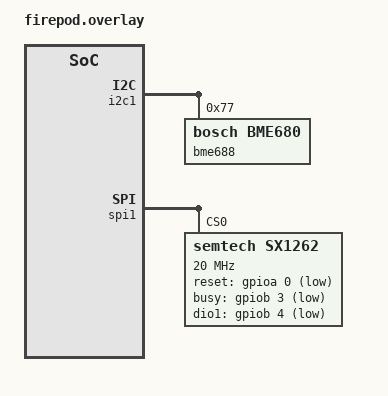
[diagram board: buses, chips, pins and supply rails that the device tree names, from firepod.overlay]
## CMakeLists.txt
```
cmake_minimum_required(VERSION 3.22)

find_package(Zephyr REQUIRED HINTS $ENV{ZEPHYR_BASE})
project(firepod)

# Include dirs so the Bosch API header is visible
target_include_directories(app PRIVATE
    ${CMAKE_CURRENT_SOURCE_DIR}/src
    ${CMAKE_CURRENT_SOURCE_DIR}/src/bosch/BME68x_SensorAPI
)

# All source files, including the Bosch driver and your stubs
target_sources(app PRIVATE
    src/main.c
    src/sensor_thread.c
    src/lora_thread.c
    src/base_station_thread.c
    src/bme688_stubs.c
    src/bosch/BME68x_SensorAPI/bme68x.c
)
```

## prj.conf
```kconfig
# LoRa subsystem
CONFIG_LORA=y
# LoRa SX1262
CONFIG_LORA_SX126X=y

CONFIG_REBOOT=y

CONFIG_SPI=y
CONFIG_GPIO=y
CONFIG_I2C=y

# Could enable this for timeslicing (this is not default)
CONFIG_TIMESLICING=y
CONFIG_TIMESLICE_SIZE=10

# this is for debugging
CONFIG_DEBUG=y
CONFIG_DEBUG_THREAD_INFO=y
CONFIG_THREAD_NAME=y

# CONFIG_SERIAL=y
# CONFIG_CONSOLE=y
CONFIG_PRINTK=y

# CONFIG_RTT_CONSOLE=y
CONFIG_LOG=y
CONFIG_LOG_PRINTK=y

# chat did we do it?
CONFIG_SPI_STM32_USE_HW_SS=n
CONFIG_SPI_STM32_INTERRUPT=y
# CONFIG_LOG_BACKEND_RTT=y
# CONFIG_LOG_MODE_IMMEDIATE=y

# CONFIG_UART_CONSOLE=n

# # FOUND THIS IN GITHUB
# CONFIG_DMA=y
# CONFIG_ADC=y
# # STM32 debug configuration for RTT
# CONFIG_USE_SEGGER_RTT=y
# CONFIG_USE_SEGGER_RTT=y
```

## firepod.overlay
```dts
/ {
    aliases {
        i2c = &i2c1;
    };
};

// something like 'i2c@40005400' is the base address for the i2c register map
&i2c1 {
    status = "okay";
    // clock-frequency = <100000>;

    bme688: bme688@77 {
        compatible = "bosch,bme680";
        // slave address
        reg = <0x77>;
    };
};

&spi1 {
    status = "okay";
    // on the datasheet this says 20 Mbit/s
    // spi-max-frequency = <0x1312D00>;

    // address DOES NOT need to be set here, the lora drivers handle all the SPI transactions under the hood
    sx1262: sx1262@0 {
        status = "okay";
        spi-max-frequency = <20000000>;
        compatible = "semtech,sx1262";
        // this will be PA2 (2) for our custom PCB
        reset-gpios = <&gpioa 0 GPIO_ACTIVE_LOW>;
        // this will be PA1 (1) for our custom PCB
        busy-gpios = <&gpiob 3 GPIO_ACTIVE_LOW>;
        // this will be PA3 (3) for our custom PCB
        dio1-gpios = <&gpiob 4 GPIO_ACTIVE_LOW>;
        reg = <0x0>;
    };
};
```

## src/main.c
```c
#include <zephyr/kernel.h>
#include "sensor_thread.h"
#include "lora_thread.h"
#include "base_station_thread.h"

#define STACK_SIZE 2048

// global message queue
static char bme688_buffer[10 * sizeof(struct bme688_readings)];
struct k_msgq bme688_queue;

static char sx1262_msg_buffer[10 * sizeof(spi_sx1262_packet_t)];
struct k_msgq sx1262_queue;

// using static definition macro here for memory safety
K_THREAD_STACK_DEFINE(bme_thread_stack, STACK_SIZE);
K_THREAD_STACK_DEFINE(printing_thread_stack, STACK_SIZE);
K_THREAD_STACK_DEFINE(lora_thread_stack, LORA_STACK_SIZE);
K_THREAD_STACK_DEFINE(base_station_stack, LORA_STACK_SIZE);

struct k_thread i2c_reading_thread;
struct k_thread printing_thread;
struct k_thread lora_rf_thread;
struct k_thread base_station_thread;

// semaphore for triggering lora thread
struct k_sem lora_trigger_sem;

int main(void)
{
    // init message queue to pass to threads
    k_msgq_init(&bme688_queue, bme688_buffer, sizeof(struct bme688_readings), 10);
    k_msgq_init(&sx1262_queue, sx1262_msg_buffer, sizeof(spi_sx1262_packet_t), 10);

    k_sem_init(&lora_trigger_sem, 0, 1);

    k_thread_create(&i2c_reading_thread,
                    bme_thread_stack,
                    STACK_SIZE,
                    sensor_reading_entry_point,
                    &bme688_queue, &lora_trigger_sem, NULL,
                    SENSOR_PRIO, 0, K_NO_WAIT);

    // k_thread_create(&printing_thread,
    //                 stack_area_2,
    //                 K_THREAD_STACK_SIZEOF(stack_area_2),
    //                 console_entry_point,
    //                 &bme688_queue, NULL, NULL,
    //                 CONSOLE_PRIO, 0, K_NO_WAIT);

    k_thread_create(&lora_rf_thread,
                    lora_thread_stack,
                    LORA_STACK_SIZE,
                    lora_thread_entry_point,
                    &bme688_queue, &lora_trigger_sem, NULL,
                    LORA_PRIO, 0, K_NO_WAIT);

    // k_thread_create(&base_station_thread,
    //                 base_station_stack,
    //                 BASE_STATION_STACK_SIZE,
    //                 base_station_thread_entry_point,
    //                 NULL, NULL, NULL,
    //                 LORA_PRIO, 0, K_NO_WAIT);

    return 0;
}

// ------------------------ FirePod ---------------------------

// 1. Initialize message queues and threads

// 2. Spawn threads, immediately switch to sensor thread to check if they are running properly, populate a message queue

// 3. Once everything is chillin, go to sleepy mode

// Questions
// 1. Would sleep be it's own thread, or just a function I can call in the sensors thread? The goal here would be to wake up based on an interrupt

// ------------------------ Sensor thread ---------------------------

// 1. I2C initialization - does it make sense to have the sensor thread initialize the SCP drivers or should this be done before the thread is started?

// 2. SPI initialization

// 3. Read data from each sensor

// 4. check readings from each sensors to tell if they are within normal levels and add the average of the past x number of readings to their own message queue

// ------------------------ RF thread ---------------------------

// 1. Make sure RF chip is chillin

// 2. read data from the message queues for sensors or just fire rating (or we can actually calulate in this thread)

// 3. Structure data and use send function

// 4. Once sending is done, switch to receiving mode

// ------------------------ HW Malfunction thread ---------------------------
```

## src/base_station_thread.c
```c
#include "base_station_thread.h"
#include <zephyr/kernel.h>
#include <zephyr/drivers/lora.h>
#include <zephyr/sys/printk.h>
#include <zephyr/sys/reboot.h>
#include <string.h>

// Message queue for received packets
K_MSGQ_DEFINE(sx1262_rx_queue, sizeof(spi_sx1262_rx_packet_t), 10, 4);

// LoRa device
static const struct device *const lora_dev = DEVICE_DT_GET(DT_ALIAS(lora0));

// Last receive timestamp for status checking
static uint32_t last_rx_timestamp = 0;

// Define expected packet size as a constant
#define EXPECTED_PACKET_SIZE sizeof(spi_sx1262_rx_packet_t)

void base_station_thread_entry_point(void *a1, void *a2, void *a3)
{
    int ret;
    spi_sx1262_rx_packet_t rx_packet;
    int16_t rssi;
    int8_t snr;

    printk("Base Station RX thread started\n");

    bool init_complete = init_lora();

    if (!init_complete)
    {
        printk("FATAL: LoRa init failed. Hardware may be unresponsive.\n");
        printk("Rebooting system in 10 seconds to attempt recovery...\n");

        // Give the user time to read the message over UART before the reboot
        k_sleep(K_SECONDS(10));

        // This triggers a hardware-level reset of the microcontroller
        sys_reboot(SYS_REBOOT_COLD);
    }

    printk("LoRa configured for receive mode at 915 MHz\n");
    printk("Waiting for packets...\n");

    while (1)
    {
        printk("Listening for LoRa packets (10s timeout)...\n");

        // Receive packet with 10 second timeout instead of forever
        ret = lora_recv(lora_dev, (uint8_t *)&rx_packet, EXPECTED_PACKET_SIZE, K_SECONDS(10), &rssi, &snr);

        if (ret > 0)
        {
            if (ret == EXPECTED_PACKET_SIZE)
            {
                // Update last receive timestamp
                last_rx_timestamp = k_uptime_get_32();

                printk("=== Packet received ===\n");
                printk("  ID: 0x%02X\n", rx_packet.identifier);
                printk("  RSSI: %d dBm, SNR: %d dB\n", rssi, snr);
                printk("  Temp: %d, Humidity: %d\n",
                       rx_packet.temperature, rx_packet.humidity);
                printk("  Pressure: %d, Gas: %d\n",
                       rx_packet.pressure, rx_packet.gas_resistance);
                printk("======================\n");

                // Put packet in message queue
                ret = k_msgq_put(&sx1262_rx_queue, &rx_packet, K_NO_WAIT);
                if (ret != 0)
                {
                    printk("WARNING: RX queue full, packet dropped\n");
                }
            }
            else
            {
                printk("WARNING: Received packet size mismatch: %d bytes (expected %d)\n",
                       ret, EXPECTED_PACKET_SIZE);
            }
        }
        else if (ret == -EAGAIN)
        {
            printk("No packet received (timeout)\n");
        }
        else if (ret < 0)
        {
            printk("ERROR: LoRa receive error: %d\n", ret);
            k_sleep(K_MSEC(100));
        }
    }
}

bool init_lora()
{
    int ret;
    if (!device_is_ready(lora_dev))
    {
        printk("LoRa device not ready\n");
        return false;
    }
    printk("LoRa device is ready\n");

    struct lora_modem_config config = {
        .frequency = 915000000,
        .bandwidth = BW_125_KHZ,
        .datarate = SF_7,
        .coding_rate = CR_4_5,
        .preamble_len = 8,
        .tx_power = 14,
        .tx = false};

    ret = lora_config(lora_dev, &config);
    if (ret < 0)
    {
        printk("LoRa config failed: %d\n", ret);
        return false;
    }
    return true;
}

bool check_rx_status(void)
{
    uint32_t current_time = k_uptime_get_32();
    return ((current_time - last_rx_timestamp) < 30000);
}
```

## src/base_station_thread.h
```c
#ifndef BASE_STATION_THREAD_H
#define BASE_STATION_THREAD_H

#include <zephyr/kernel.h>
#include <zephyr/drivers/spi.h>
#include <zephyr/drivers/lora.h>

#define BASE_STATION_STACK_SIZE 512
#define BASE_STATION_PRIO 4

// Message queue for received packets
extern struct k_msgq sx1262_rx_queue;

// Received packet structure - matches transmit packet format
typedef struct __attribute__((packed))
{
    uint8_t identifier;
    int32_t temperature;
    int32_t humidity;
    int32_t pressure;
    int32_t gas_resistance;
} spi_sx1262_rx_packet_t;

void base_station_thread_entry_point(void *a1, void *a2, void *a3);

bool init_lora();

// check if valid data has been received recently
bool check_rx_status(void);

#endif // BASE_STATION_THREAD_H
```

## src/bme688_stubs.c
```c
#include "bme688_stubs.h"

/*The Bosch API has all the logic and math, but is platform agnostic. To use it with Zephyr, "glue" or stub functions must be written*/

#define BME DT_NODELABEL(bme688)

// grabs i2c spec from the devicetree
static const struct i2c_dt_spec bme688 = I2C_DT_SPEC_GET(BME);

int8_t user_i2c_read(uint8_t reg_addr, uint8_t *reg_data, uint32_t length, void *intf_ptr)
{
    const struct i2c_dt_spec *i2c = (const struct i2c_dt_spec *)intf_ptr;

    // go to this address, ask for this register, and give me 'length' bytes back
    int ret = i2c_burst_read_dt(i2c, reg_addr, reg_data, length);

    printk("[STUB] READ reg=0x%02X len=%d ret=%d\n", reg_addr, length, ret);

    return (ret == 0) ? 0 : -1;
}

int8_t user_i2c_write(uint8_t reg_addr, const uint8_t *reg_data,
                      uint32_t length, void *intf_ptr)
{
    const struct i2c_dt_spec *i2c = (const struct i2c_dt_spec *)intf_ptr;

    // building buffer
    uint8_t buffer[1 + length];
    buffer[0] = reg_addr;
    memcpy(&buffer[1], reg_data, length);

    int ret = i2c_write_dt(i2c, buffer, sizeof(buffer));

    printk("[STUB] WRITE reg=0x%02X len=%u ret=%d\n", reg_addr, length, ret);

    return (ret == 0) ? 0 : -1;
}

void user_delay_us(uint32_t period, void *intf_ptr)
{
    k_busy_wait(period);
}

const struct i2c_dt_spec *bme68x_get_i2c(void)
{
    if (!device_is_ready(bme688.bus))
    {
        printk("BME688 I2C bus not ready.\n");
    }
    return &bme688;
}
```

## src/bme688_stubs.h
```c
#ifndef BME688_STUBS_H
#define BME688_STUBS_H

#include <zephyr/kernel.h>
#include <zephyr/drivers/i2c.h>
#include "bosch/BME68x_SensorAPI/bme68x.h"   // needed for bme68x types

int8_t user_i2c_read(uint8_t reg_addr, uint8_t *reg_data, uint32_t length, void *intf_ptr);
int8_t user_i2c_write(uint8_t reg_addr, const uint8_t *reg_data, uint32_t length, void *intf_ptr);
void   user_delay_us(uint32_t period, void *intf_ptr);

const struct i2c_dt_spec *bme68x_get_i2c(void);

#endif
```

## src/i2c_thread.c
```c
#include "i2c_thread.h"
#include <zephyr/drivers/i2c.h>

#define BME DT_NODELABEL(bme688)
static const struct i2c_dt_spec bme688 = I2C_DT_SPEC_GET(BME);

void sensor_reading_entry_point(void *a1, void *a2, void *a3)
{
    struct k_msgq *q = (struct k_msgq *)a1;
    struct bme688_readings readings;

    // configurations for the bme688
    uint8_t ctrl_hum = 0x01;
    uint8_t ctrl_meas = (0x02 << 5) | (0x01 << 2) | 0x01;

    uint8_t temp_buf[3];
    uint8_t hum_buf[2];
    uint8_t status;
    int ret;

    while (true)
    {
        // triggering forced mode (reads once then goes back to sleep)
        i2c_reg_write_byte_dt(&bme688, 0x72, ctrl_hum);
        i2c_reg_write_byte_dt(&bme688, 0x74, ctrl_meas);

        // wait for the measurement to finish reading from the sensor
        do
        {
            i2c_reg_read_byte_dt(&bme688, 0x1D, &status);
        } while (status & 0x08);

        // read temp and humidity
        ret = i2c_burst_read_dt(&bme688, 0x22, temp_buf, 3);
        ret = i2c_burst_read_dt(&bme688, 0x25, hum_buf, 2);

        readings.temp = ((uint32_t)temp_buf[0] << 12) | ((uint32_t)temp_buf[1] << 4) | ((uint32_t)temp_buf[2] >> 4);

        readings.hum = ((uint16_t)hum_buf[0] << 8) | ((uint16_t)hum_buf[1]);

        // put in message queue for the console thread to use for testing
        k_msgq_put(q, &readings, K_FOREVER);

        k_sleep(K_MSEC(100));
    }
}

void console_entry_point(void *a1, void *a2, void *a3)
{
    struct k_msgq *q = (struct k_msgq *)a1;
    struct bme688_readings values;

    while (true)
    {
        while (k_msgq_get(q, &values, K_NO_WAIT) == 0)
        {
            printk("temperature reading: %d\n", values.temp);
            printk("humidity reading: %d\n", values.hum);
        }
    }
}
```

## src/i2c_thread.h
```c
#ifndef SENSOR_THREADS_H
#define SENSOR_THREADS_H

#include <zephyr/kernel.h>
#include <zephyr/drivers/i2c.h>

#define STACK_SIZE 512
#define SENSOR_PRIO 5
#define CONSOLE_PRIO 5

struct bme688_readings
{
    uint32_t temp;
    uint16_t hum;
};

// externally defined message queue used between threads
extern struct k_msgq bme688_queue;

// thread entry points
void sensor_reading_entry_point(void *a1, void *a2, void *a3);
void console_entry_point(void *a1, void *a2, void *a3);

#endif
```

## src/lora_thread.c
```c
#include <zephyr/drivers/lora.h>
#include <zephyr/drivers/spi.h>
#include <zephyr/sys/reboot.h>
#include "lora_thread.h"

#define NO_DATA 0
#define POD_1 1
#define ROC_THRESHOLD 2 // 2 degree delta
#define GAS_THRESHOLD 50000
#define TEMP_MAX 45

// Access the node from the devicetree
#define SX1262 DT_NODELABEL(sx1262)

// if the low level spi driver was necessary instead of the high level LoRa driver, then I would use this line below
// static const struct spi_dt_spec sx1262 = SPI_DT_SPEC_GET(SX1262, SPI_WORD_SET(8) | SPI_TRANSFER_MSB | SPI_OP_MODE_MASTER);

// Get the LoRa device from the same node
static const struct device *const lora_dev = DEVICE_DT_GET(DT_ALIAS(lora0));

static uint8_t run_fire_algorithm(bme688_data_packet_t *data)
{
    // static so it can be used to compare
    static int32_t last_temp = 0;
    uint8_t score = 0;

    if (data->gas_resistance < GAS_THRESHOLD)
        score += 2;
    if (data->temperature > TEMP_MAX)
        score += 1;

    // only check rate of change will multiple data points
    if (last_temp != 0)
    {
        int32_t delta_t = data->temperature - last_temp;

        if (delta_t >= ROC_THRESHOLD)
        {
            printk("[ALGO] Rapid Temp Rise Detected: +%d C\n", delta_t);
            score += 2;
        }
    }

    // update the "last" value for the next time the thread runs
    last_temp = data->temperature;

    // return: 0 (cold), 1 (hot), 2 (smoky/dangerous), 3-5 (fire)
    return score;
}

/* NOTE:
 - If this needed to send with a high frequency, printing should be offloaded to a work queue because the operation is slow -> it sends message character by character over UART
 - Another option is enabling CONFIG_LOG_MODE_DEFERRED=y to delay the log printing by storing it in a buffer and prints when the CPU is idle
*/
void lora_thread_entry_point(void *a1, void *a2, void *a3)
{
    int ret;
    spi_sx1262_packet_t lora_packet_tx = {0};
    bme688_data_packet_t bme688_data = {0};

    printk("Entered lora thread");

    bool init_complete = init_lora_node();
    if (!init_complete)
    {
        printk("FATAL: LoRa init failed. Hardware may be unresponsive.\n");
        printk("Rebooting system in 10 seconds to attempt recovery...\n");

        // Give the user time to read the message over UART before the reboot
        k_sleep(K_SECONDS(10));

        // This triggers a hardware-level reset of the microcontroller
        sys_reboot(SYS_REBOOT_COLD);
    }

    struct k_msgq *sx1262_queue = (struct k_msgq *)a1;

    // in a network of sensors, this will be passed in to the thread
    lora_packet_tx.identifier = POD_1;

    struct k_sem *lora_trigger_sem = (struct k_sem *)a2;

    while (true)
    {
        printk("Inside while loop of lora thread");
        k_sem_take(lora_trigger_sem, K_FOREVER);

        // this will populate the sensor_data_send packet struct
        if (k_msgq_get(sx1262_queue, &bme688_data, K_NO_WAIT) == 0)
        {

            lora_packet_tx.env_data = bme688_data;

            lora_packet_tx.fire_alert = run_fire_algorithm(&bme688_data);

            // great example of code that can be offloaded to a work queue
            printk("Raw packet (%d bytes): ", sizeof(lora_packet_tx));
            uint8_t *raw_bytes = (uint8_t *)&lora_packet_tx;
            for (int i = 0; i < sizeof(lora_packet_tx); i++)
            {
                printk("%02X ", raw_bytes[i]);
            }
            printk("\n");

            ret = lora_send(lora_dev, (uint8_t *)&lora_packet_tx, sizeof(lora_packet_tx));

            (ret < 0) ? printk("LoRa send failed: %d\n", ret) : printk("Sent %d bytes over LoRa\n", sizeof(lora_packet_tx));
        }
        else
        {
            // this shouldn't be hit because of how the semaphore works, but there could be a bug where the queue was empty, then this might be reached
            printk("[WARN] LoRa triggered but queue was empty.\n");
        }
    }
}

bool init_lora_node()
{
    int ret;
    if (!device_is_ready(lora_dev))
    {
        printk("LoRa device not ready\n");
        return false;
    }

    struct lora_modem_config config = {
        .frequency = 915000000,
        .bandwidth = BW_125_KHZ,
        .datarate = SF_7,
        .coding_rate = CR_4_5,
        .preamble_len = 8,
        .tx_power = 14,
        .tx = true,
        .public_network = true};

    ret = lora_config(lora_dev, &config);
    if (ret < 0)
    {
        printk("LoRa config failed: %d\n", ret);
        return false;
    }
    return true;
}

bool check_heartbeat()
{
    return device_is_ready(lora_dev);
}
```

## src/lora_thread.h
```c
#ifndef LORA_THREAD_H
#define LORA_THREAD_H

#include <zephyr/kernel.h>
#include <zephyr/drivers/spi.h>
#include <zephyr/drivers/lora.h>

#define LORA_STACK_SIZE 512
#define LORA_PRIO 4

extern struct k_msgq sx1262_queue;

typedef struct
{
    int32_t temperature;
    int32_t humidity;
    int32_t pressure;
    int32_t gas_resistance;
} bme688_data_packet_t;

typedef struct __attribute__((packed))
{
    uint8_t identifier;
    bme688_data_packet_t env_data;
    uint8_t fire_alert; // 0 (cold), 1 (hot), 2 (smoky/dangerous), 3-5 (fire)
} spi_sx1262_packet_t;

// entry point for LoRa
void lora_thread_entry_point(void *a1, void *a2, void *a3);
bool init_lora_node();
bool check_heartbeat();

#endif // LORA_THREAD_H
```

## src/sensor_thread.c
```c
#include <zephyr/kernel.h>
#include <zephyr/drivers/i2c.h>
#include <zephyr/sys/printk.h>
#include <stdlib.h>

#include "sensor_thread.h"
#include "bme688_stubs.h"

#include "bosch/BME68x_SensorAPI/bme68x.h"
#include "bosch/BME68x_SensorAPI/bme68x_defs.h"

// K_MSGQ_DEFINE(bme688_queue, sizeof(struct bme688_readings), 10, 4);

// Bosch API device struct
static struct bme68x_dev bme;

void sensor_reading_entry_point(void *a1, void *a2, void *a3)
{
    // Using dependency injection here instead of statically defined queues. This allows for more modularity. Tradoff is memory security.
    struct k_msgq *q = (struct k_msgq *)a1;

    struct k_sem *lora_trigger_sem = (struct k_sem *)a2;

    init_bme688();
    set_config_bme688();

    while (1)
    {
        // triggers the sensor wake up every loop so we can take a measurement
        bme68x_set_op_mode(BME68X_FORCED_MODE, &bme);

        uint8_t n_fields = 0;
        struct bme68x_data raw[1];

        // check every 5 microseconds until the sensor is able to give data -> in forced mode (for power efficiency) the sensor starts from off, turns on, takes readings, sends them, turns back off
        do
        {
            bme.delay_us(5000, bme.intf_ptr);
            // uses the environmental compensation algorithms and gas-heating sequences that aren't attainable with regular i2c read functions
            bme68x_get_data(BME68X_FORCED_MODE, raw, &n_fields, &bme);
        } while (n_fields == 0);

        uint8_t status = raw[0].status;
        bool gas_valid = (status & BME68X_GASM_VALID_MSK) != 0;

        // converting float to fixed point integers so we don't have to use the FPU too much -> power hungry
        int32_t temp_mC = (int32_t)(raw[0].temperature * 1000.0f); // milli-celcius
        int32_t hum_mPct = (int32_t)(raw[0].humidity * 1000.0f);   // milli-percent
        int32_t pres_Pa = (int32_t)(raw[0].pressure);
        int32_t gas_cOhm = gas_valid ? (int32_t)(raw[0].gas_resistance * 100.0f) : -1; // centi-ohms

        // payload we want to send to the LoRa thread
        struct bme688_readings send_out_bme_data = {
            .temperature = temp_mC,
            .humidity = hum_mPct,
            .pressure = pres_Pa,
            .gas_resistance = gas_cOhm};

        printk("Temp: %d.%03d C\n", temp_mC / 1000, abs(temp_mC % 1000));
        printk("Hum : %d.%03d %%\n", hum_mPct / 1000, abs(hum_mPct % 1000));
        printk("Pres: %d Pa\n", pres_Pa);
        if (gas_cOhm >= 0)
        {
            printk("Gas : %d.%02d ohms\n", gas_cOhm / 100, gas_cOhm % 100);
        }
        else
        {
            printk("Gas : INVALID\n");
        }

        // put the data in the queue for the LoRa thread and give the semaphore
        k_msgq_put(q, &send_out_bme_data, K_NO_WAIT);

        k_sem_give(lora_trigger_sem);

        // sticking with this sleep here because we want to utilize deep sleep caused by tickless idle mode whenever possible to save power
        k_sleep(K_MSEC(5000));
    }
}

void init_bme688()
{
    // configure Bosch API -> function pointer assignment -> using glue functions to enable the use of Zephyr with this vendor API
    bme.intf = BME68X_I2C_INTF;
    bme.read = user_i2c_read;
    bme.write = user_i2c_write;
    bme.delay_us = user_delay_us;
    bme.intf_ptr = (void *)bme68x_get_i2c();

    const struct i2c_dt_spec *spec = bme68x_get_i2c();
    printk("[DBG] I2C addr=0x%02X bus=%s ready=%d\n", spec->addr, spec->bus->name, device_is_ready(spec->bus));

    // populates the bme struct with a bunch of calibration data
    int8_t rslt = bme68x_init(&bme);
    printk("[DBG] bme68x_init result=%d\n", rslt);

    if (rslt != BME68X_OK)
    {
        printk("[ERR] BME688 init failed: %d\n", rslt);
        return;
    }
}

void set_config_bme688()
{
    // configuration to determine how many measurements that will be requested and if there will be a filter applied
    struct bme68x_conf conf = {
        .os_hum = BME68X_OS_1X,
        .os_temp = BME68X_OS_2X,
        .os_pres = BME68X_OS_1X,
        .filter = BME68X_FILTER_OFF,
    };

    bme68x_set_conf(&conf, &bme);

    struct bme68x_heatr_conf heatr = {
        .enable = BME68X_ENABLE,
        .heatr_temp = 320,
        .heatr_dur = 150,
    };

    // ***** forced mode for getting multiple readings and not just one
    bme68x_set_heatr_conf(BME68X_FORCED_MODE, &heatr, &bme);
}

void console_entry_point(void *a1, void *a2, void *a3)
{
    struct bme688_readings v;

    while (true)
    {
        k_msgq_get(&bme688_queue, &v, K_FOREVER);

        printk("\n[CONSOLE]\n");

        // temperature: milli-Celsius → X.YYY
        printk("Temp: %d.%03d C\n",
               v.temperature / 1000, abs(v.temperature % 1000));

        // humidity: milli-percent → X.YYY
        printk("Hum : %d.%03d %%\n",
               v.humidity / 1000, abs(v.humidity % 1000));

        // pressure: Pa
        printk("Press: %d Pa\n", v.pressure);

        // gas resistance: centi-ohm → X.YY
        if (v.gas_resistance >= 0)
        {
            printk("Gas : %d.%02d ohms\n",
                   v.gas_resistance / 100, abs(v.gas_resistance % 100));
        }
        else
        {
            printk("Gas : INVALID\n");
        }
    }
}
```

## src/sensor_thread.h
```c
#ifndef SENSOR_THREAD_H
#define SENSOR_THREAD_H

#include <zephyr/kernel.h>
#include <zephyr/drivers/i2c.h>

#define STACK_SIZE 2048
#define SENSOR_PRIO 3
#define CONSOLE_PRIO 6

struct bme688_readings
{
    int32_t temperature;    // Celsius
    int32_t humidity;       // %RH
    int32_t pressure;       // Pascals
    int32_t gas_resistance; // Ohms
};

// Externally defined message queue used between threads
extern struct k_msgq bme688_queue;

void sensor_reading_entry_point(void *a1, void *a2, void *a3);
void console_entry_point(void *a1, void *a2, void *a3);

void init_bme688();
void set_config_bme688();

#endif // SENSOR_THREAD_H
```
